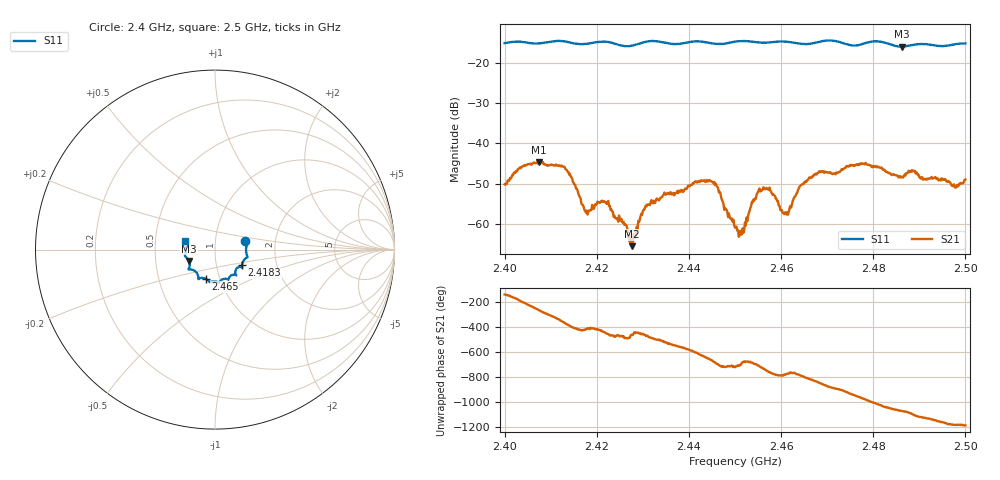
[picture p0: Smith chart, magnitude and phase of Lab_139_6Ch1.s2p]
# Hz S RI R 50
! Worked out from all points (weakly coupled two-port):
!   601 points, 2.4 GHz to 2.5 GHz, reference 50 ohm
!   highest |S21| = -44.59 dB at 2.4075 GHz (marker M1); lowest = -65.5 dB at 2.4277 GHz (marker M2)
!   lowest |S11| = -16.0 dB at 2.4862 GHz (marker M3), VSWR 1.38, Z = 37.1 - j4.84 ohm
!   |S11| at or under -10 dB: start of sweep to end of sweep
!   S12 and S22 are empty: the file has one direction only
!   S11 on the Smith chart (normalised r, x): 2.4 GHz: 1.40, +0.13; 2.4183 GHz: 1.33, -0.24; 2.465 GHz: 0.86, -0.29; 2.5 GHz: 0.71, +0.07
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2.4e9  0.1689 0.0456  -0.00252 -0.00182  0 0  0 0
2.403333e9  0.1796 0.0311  -0.00491 0.00114  0 0  0 0
2.4075e9  0.1734 -0.00946  -3.13e-06 0.0059  0 0  0 0
2.413e9  0.1784 -0.044  0.00508 -0.000674  0 0  0 0
2.416667e9  0.1552 -0.0684  0.000724 -0.00164  0 0  0 0
2.418333e9  0.15 -0.0871  0.000854 -0.00117  0 0  0 0
2.422e9  0.1521 -0.0997  -0.0001 -0.00186  0 0  0 0
2.427667e9  0.1149 -0.1152  -0.000153 -0.000509  0 0  0 0
2.4305e9  0.1155 -0.1395  -0.000428 -0.00156  0 0  0 0
2.433333e9  0.1168 -0.1414  -0.00162 -0.00116  0 0  0 0
2.444667e9  0.0642 -0.1629  0.0019 0.00289  0 0  0 0
2.45e9  0.0253 -0.1808  0.000903 -4.46e-05  0 0  0 0
2.4515e9  0.0218 -0.1848  0.000636 0.000392  0 0  0 0
2.455667e9  0.00196 -0.1775  0.00262 -0.000173  0 0  0 0
2.457333e9  -0.0125 -0.1777  0.00201 -0.00175  0 0  0 0
2.461e9  -0.0305 -0.1801  0.000656 -0.00124  0 0  0 0
2.465e9  -0.0524 -0.1622  0.000583 -0.00325  0 0  0 0
2.466667e9  -0.0711 -0.1579  -0.000756 -0.00367  0 0  0 0
2.477833e9  -0.1308 -0.1112  -0.00168 0.00533  0 0  0 0
2.483333e9  -0.142 -0.0962  0.00355 0.00238  0 0  0 0
2.486167e9  -0.1447 -0.0636  0.00376 0.000569  0 0  0 0
2.5e9  -0.1669 0.047  -0.000979 -0.00343  0 0  0 0
